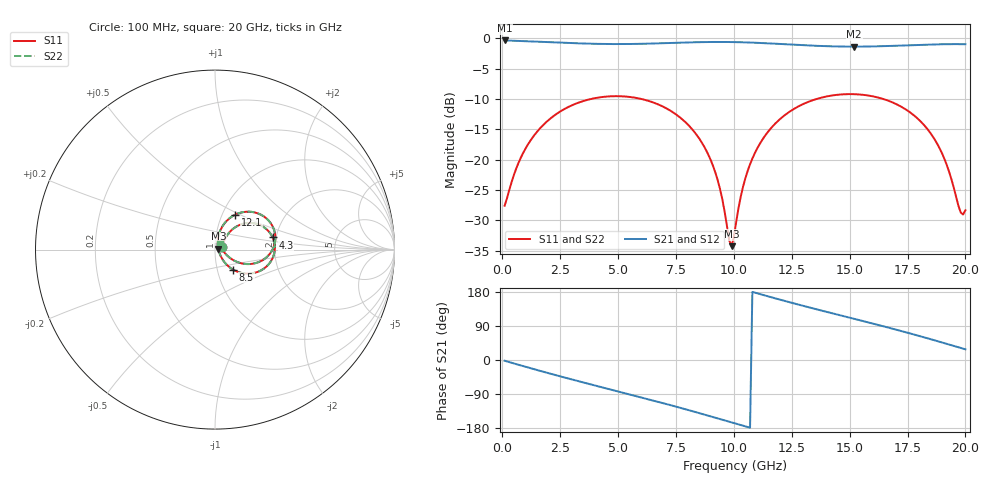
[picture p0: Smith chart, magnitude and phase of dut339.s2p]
! Touchstone file exported from HFSS 2026.1.0
!  File:  C:/ffzhzh/LocalFiles/Ansys_Project_Files/temp_train_TSV_RDL_339_1783034459_46388.aedt
!  Generated:  07:33:44 AM Jul  3, 2026
!  Design:  TSV_RDL
!  Project:  temp_train_TSV_RDL_339_1783034459_46388
! Variables:
!  h_bsmrdl = 4.01um
!  h_ox = 20um
!  h_rdl = 5um
!  h_sub = 82um
!  h_tmrdl = 2.6um
!  h_tsv = 82um
!  h_via = 3um
!  l_bsmrdl = 644.76um
!  l_sub = 5046.54um
!  l_tmrdl = 657.77um
!  m_sub = 200um
!  pitch = 27.98um
!  r_tsv = 11.28um
!  s_tmrdl = 10um
!  w_bsmrdl = 14.34um
!  w_sub = 500um
!  w_tmrdl = 12.72um
!  x_tsv_center1 = 664.13um
!  x_tsv_center2 = 1323.23um
!  x_tsv_center3 = 1993.72um
!  x_tsv_center4 = 2652.82um
!  x_tsv_center5 = 3323.31um
!  x_tsv_center6 = 3982.41um
# GHz S MA R 50.000000
! Terminal data exported
! Port[1] = TM_RDL1_1_T1
! Port[2] = TM_RDL5_1_T1
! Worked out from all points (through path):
!   200 points, 100 MHz to 20 GHz, reference 50 ohm
!   highest |S21| = -0.35 dB at 100 MHz (marker M1); lowest = -1.4 dB at 15.2 GHz (marker M2)
!   group delay of S21, straight-line fit = 45.8 ps
!   lowest |S11| = -34.2 dB at 9.9 GHz (marker M3), VSWR 1.04, Z = 51.9 + j0.519 ohm
!   |S11| at or under -10 dB: start of sweep to 3.822 GHz; 6.015 GHz to 13.57 GHz (7.553 GHz wide, 77.1 % of centre); 16.46 GHz to end of sweep
!   |S22| runs from -34.5 to -9.2 dB; largest |S21 - S12| = 1.7e-14
!   S11 on the Smith chart (normalised r, x): 100 MHz: 1.08, +0.03; 4.3 GHz: 1.92, +0.29; 8.5 GHz: 1.19, -0.27; 12.1 GHz: 1.15, +0.47; 20 GHz: 1.05, +0.06
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0.1  0.04176 16.4  0.9603 -1.9  0.9603 -1.9  0.04176 16.4
! Gamma 0 0 0 0
! Port Impedance 50 0 50 0
0.7  0.09416 49.1  0.9517 -12.6  0.9517 -12.6  0.09416 49.1
1.4  0.1608 48.4  0.9407 -24.7  0.9407 -24.7  0.1608 48.4
2.3  0.2354 39.0  0.9252 -39.8  0.9252 -39.8  0.2354 39.0
3.5  0.3045 23.1  0.9065 -59.3  0.9065 -59.3  0.3045 23.1
4.3  0.3282 11.9  0.8989 -71.9  0.8989 -71.9  0.3283 11.9
5.6  0.3271 -6.7  0.8983 -92.3  0.8983 -92.3  0.3271 -6.7
6.8  0.2819 -24.2  0.9095 -111.4  0.9095 -111.4  0.2819 -24.2
8.5  0.15 -47.9  0.9297 -140.0  0.9297 -140.0  0.15 -48.1
9.3  0.06813 -52.3  0.9335 -154.0  0.9335 -154.0  0.06805 -52.7
9.9  0.01941 14.9  0.9318 -164.6  0.9318 -164.6  0.01889 14.8
10.1  0.03059 58.4  0.9303 -168.1  0.9303 -168.1  0.03021 59.1
10.4  0.0602 73.9  0.9272 -173.4  0.9272 -173.4  0.05997 74.3
10.8  0.1022 75.0  0.9216 179.6  0.9216 179.6  0.1021 75.3
12.1  0.225 59.9  0.8961 157.5  0.8961 157.5  0.2248 60.0
13.4  0.3088 41.4  0.8701 136.5  0.8701 136.5  0.3087 41.5
15.2  0.3466 16.0  0.8544 108.6  0.8544 108.6  0.3465 16.1
16.7  0.3047 -4.9  0.8647 85.1  0.8647 85.1  0.3047 -4.8
18.5  0.1648 -27.5  0.8897 54.9  0.8897 54.9  0.1647 -27.4
19.2  0.09002 -28.6  0.8951 42.6  0.8951 42.6  0.09003 -28.4
19.8  0.03669 12.4  0.8951 31.8  0.8951 31.8  0.03685 12.6
20  0.03832 47.6  0.894 28.2  0.894 28.2  0.03851 47.6
